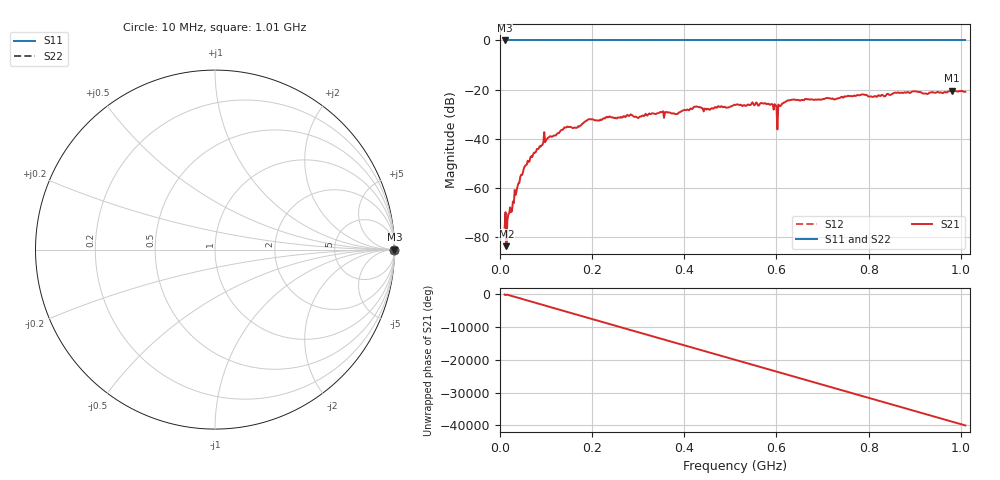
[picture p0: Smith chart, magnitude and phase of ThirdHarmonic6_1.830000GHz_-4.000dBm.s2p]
! 8/16/2025 10:09:46 PM
! C:\ANRITSUVNA\TEMP\TEMP.S2P
! CHANNEL.1
! TR.MEASUREMENT
! RAW.DATA
! RF.CORRECTION.OFF
! AVERAGING.OFF
! IF.BANDWIDTH: 5KHZ
! SWEEPTYPE:  FREQ.SWEEP(Linear)
! Reference Plane Port Info
! PORT:  PORT1  PORT2
! DISTANCE:  0  m  0  m
! TIME:  0  s  0  s
! PHASE.OFFSET:  0  deg.  0  deg.
! LOSS:  0  dB  0  dB
! REF.LOSS:  0  dB  0  dB
! REF.FREQ:  0  Hz  0  Hz
! Power Info
! POWER:  -20  dBm  -20  dBm
! EFF.POWER:  -20  dBm  -20  dBm
! SOURCE.ATTEN:  0  dB  0  dB
! TEST.ATTEN:  0  dB  0  dB
# GHZ S RI R 50.0
! FREQ.GHZ  S11RE  S11IM  S21RE  S21IM  S12RE  S12IM  S22RE  S22IM
!; PortSelection: Port_12
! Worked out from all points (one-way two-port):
!   501 points, 10 MHz to 1.01 GHz, reference 50 ohm
!   highest |S21| = -20.41 dB at 980 MHz (marker M1); lowest = -83.7 dB at 14 MHz (marker M2)
!   lowest |S11| = 0.0 dB at 10 MHz (marker M3)
!   |S11| at or under -10 dB: nowhere
!   |S22| runs from 0.0 to 0.0 dB; largest |S21 - S12| = 1.1
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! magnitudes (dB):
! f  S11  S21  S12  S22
! 10 MHz  0.0  -76.2  0.0  0.0
! 14 MHz  0.0  -83.7  0.0  0.0
! 48 MHz  0.0  -54.8  0.0  0.0
! 70 MHz  0.0  -47.4  0.0  0.0
! 100 MHz  0.0  -40.6  0.0  0.0
! 142 MHz  0.0  -35.5  0.0  0.0
! 178 MHz  0.0  -34.0  0.0  0.0
! 194 MHz  0.0  -32.0  0.0  0.0
! 302 MHz  0.0  -31.2  0.0  0.0
! 344 MHz  0.0  -29.6  0.0  0.0
! 382 MHz  0.0  -30.0  0.0  0.0
! 424 MHz  0.0  -27.0  0.0  0.0
! 452 MHz  0.0  -27.8  0.0  0.0
! 510 MHz  0.0  -26.2  0.0  0.0
! 578 MHz  0.0  -25.9  0.0  0.0
! 596 MHz  0.0  -25.9  0.0  0.0
! 598 MHz  0.0  -26.3  0.0  0.0
! 626 MHz  0.0  -24.3  0.0  0.0
! 678 MHz  0.0  -24.0  0.0  0.0
! 844 MHz  0.0  -22.0  0.0  0.0
! 980 MHz  0.0  -20.4  0.0  0.0
! 1.01 GHz  0.0  -20.8  0.0  0.0
